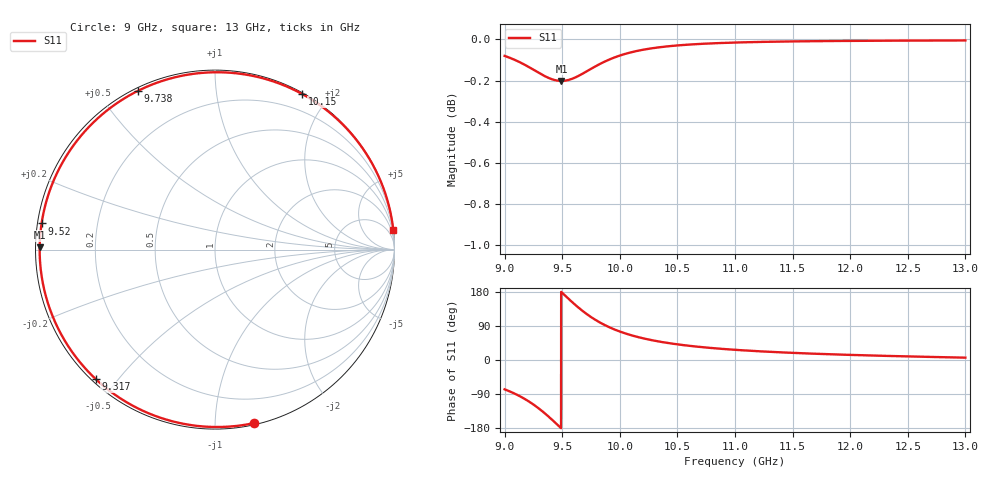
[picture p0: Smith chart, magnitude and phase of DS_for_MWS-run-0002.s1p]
! TOUCHSTONE file generated by CST DESIGN STUDIO
! Date and time: Tue Feb  4 16:02:42 2025
! Project name: C:\Work\MatlabApps\UnitCellOptimizationMatlab\CST\unitcell.cst
! Tree item: Tasks\Sweep1\SPara1\S-Parameters
! Header version: 2024
! Port assignment regex: !\s*Touchstone port\s*([0-9]+)\s*=\s*(CST MWS port|CST DES external port|CST DES block port)\s*(.+)\s* \(\"(.*)\"\)(\s*mode\s*([0-9]+))?.*
! Touchstone port assignment:
! Touchstone port 1 = CST DES external port 1 ("")
# GHz S MA R 50
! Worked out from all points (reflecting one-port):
!   4001 points, 9 GHz to 13 GHz, reference 50 ohm
!   lowest |S11| = -0.2 dB at 9.493 GHz (marker M1), VSWR 86.12, Z = 0.581 + j0.336 ohm
!   phase of S11 starts at -77 deg and turns -276 deg over the sweep
!   S11 on the Smith chart (normalised r, x): 9 GHz: 0.01, -1.25; 9.317 GHz: 0.01, -0.44; 9.52 GHz: 0.01, +0.07; 9.738 GHz: 0.01, +0.63; 10.15 GHz: 0.01, +1.70; 13 GHz: 0, +18
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9  0.9908 -77.4
9.081  0.9888 -87.8
9.181  0.9857 -103.9
9.252  0.9831 -117.9
9.317  0.9807 -132.7
9.364  0.9792 -144.6
9.413  0.9779 -157.9
9.454  0.9773 -169.5
9.493  0.977 179.2
9.5  0.9771 177.2
9.52  0.9771 171.4
9.573  0.9779 156.4
9.633  0.9795 140.4
9.685  0.9813 127.6
9.738  0.9832 115.9
9.792  0.9852 105.2
9.851  0.9871 95.1
9.925  0.9892 84.3
10  0.991 75.2
10.154  0.9936 60.8
10.311  0.9953 50.4
10.5  0.9966 41.3
10.722  0.9976 33.7
11  0.9983 26.9
11.5  0.9989 18.8
12  0.9992 13.5
12.5  0.9993 9.5
13  0.9994 6.2
